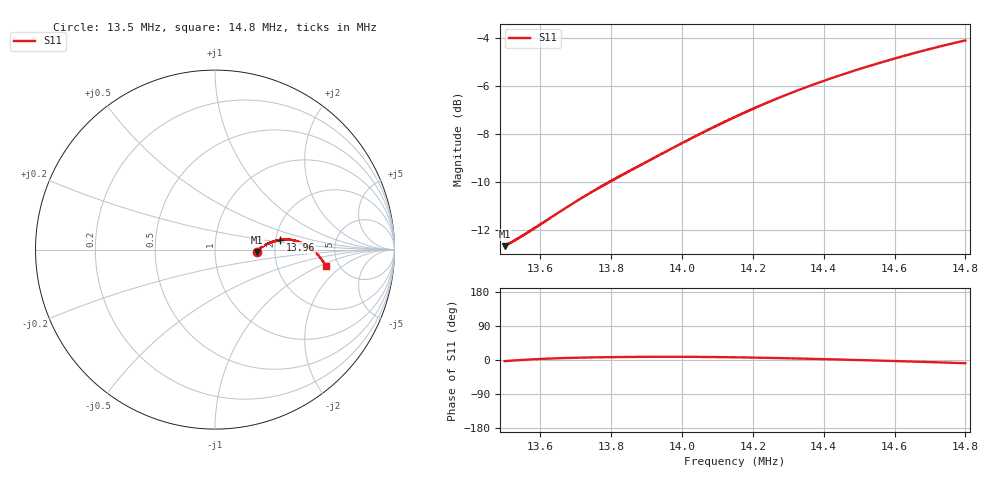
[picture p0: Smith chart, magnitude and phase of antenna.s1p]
! Calibrated three-pass averaged EFHW harmonic sweep
# Hz S RI R 50
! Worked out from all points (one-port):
!   2001 points, 13.5 MHz to 14.8 MHz, reference 50 ohm
!   lowest |S11| = -12.7 dB at 13.5 MHz (marker M1), VSWR 1.61, Z = 80.3 - j2.14 ohm
!   |S11| at or under -10 dB: start of sweep to 13.79 MHz
!   S11 on the Smith chart (normalised r, x): 13.5 MHz: 1.61, -0.04; 13.96 MHz: 2.12, +0.27; 14.8 MHz: 3.94, -1.18
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1.35e7  0.2327 -0.0126
1.35065e7  0.2343 -0.0108
1.353705e7  0.2415 -0.00263
1.359035e7  0.2553 0.0105
1.362155e7  0.2638 0.017
1.36625e7  0.2758 0.0234
1.370475e7  0.2882 0.0305
1.37418e7  0.2991 0.0353
1.3825e7  0.323 0.0436
1.389325e7  0.3429 0.0501
1.39589e7  0.364 0.0542
1.39875e7  0.373 0.0554
1.402975e7  0.3876 0.0566
1.406355e7  0.3991 0.0569
1.410775e7  0.4145 0.0559
1.415e7  0.4291 0.0538
1.418965e7  0.4431 0.0507
1.4228e7  0.456 0.0473
1.42709e7  0.4709 0.0422
1.43125e7  0.4851 0.036
1.439245e7  0.511 0.0221
1.4475e7  0.5362 0.00425
1.45582e7  0.5601 -0.0158
1.46375e7  0.5809 -0.0383
1.46778e7  0.5907 -0.0502
1.47298e7  0.6026 -0.0673
1.479415e7  0.6159 -0.0891
1.48e7  0.6169 -0.0912
